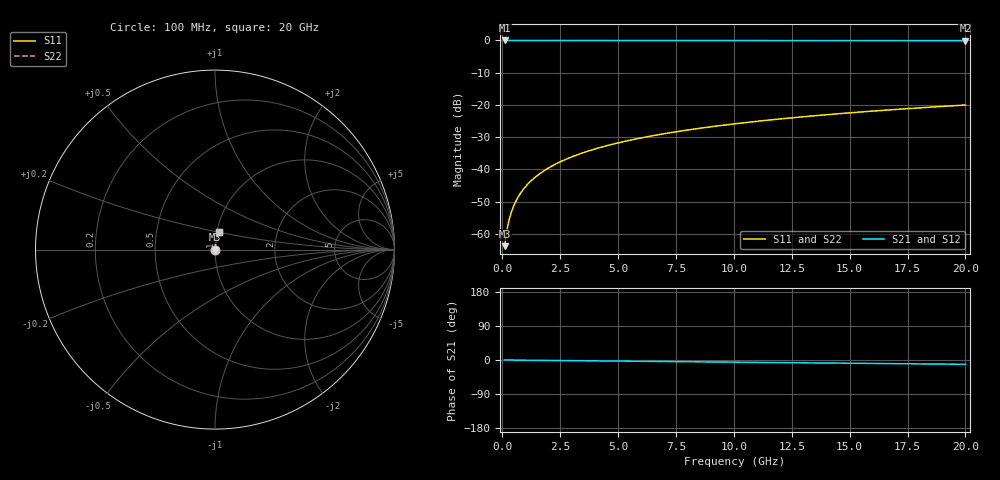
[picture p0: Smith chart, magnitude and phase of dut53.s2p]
! Touchstone file exported from HFSS 2026.1.0
!  File:  C:/ffzhzh/LocalFiles/Ansys_Project_Files/temp_train_TSV_53_1782958846_15332.aedt
!  Generated:  10:22:36 AM Jul  2, 2026
!  Design:  TSV
!  Project:  temp_train_TSV_53_1782958846_15332
! Variables:
!  h_bsmrdl = 2um
!  h_ox = 20um
!  h_rdl = 5um
!  h_sub = 94.98um
!  h_tmrdl = 5um
!  h_tsv = 94.98um
!  h_via = 3um
!  l_bsmrdl = 300um
!  l_sub = 411.96um
!  l_tmrdl = 200um
!  m_sub = 200um
!  pitch = 55.69um
!  r_tsv = 5.98um
!  s_tmrdl = 10um
!  w_bsmrdl = 18um
!  w_sub = 500um
!  w_tmrdl = 12um
!  x_tsv_center1 = 206um
!  x_tsv_center2 = 524um
!  x_tsv_center3 = 736um
!  x_tsv_center4 = 1054um
!  x_tsv_center5 = 1266um
!  x_tsv_center6 = 1584um
# GHz S MA R 50.000000
! Terminal data exported
! Port[1] = TSV1_1_T1
! Port[2] = TSV1_1_T2
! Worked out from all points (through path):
!   200 points, 100 MHz to 20 GHz, reference 50 ohm
!   highest |S21| = 0.00 dB at 100 MHz (marker M1); lowest = -0.1 dB at 20 GHz (marker M2)
!   group delay of S21, straight-line fit = 1.57 ps
!   lowest |S11| = -63.8 dB at 100 MHz (marker M3), VSWR 1.00, Z = 50 + j0.055 ohm
!   |S11| at or under -10 dB: start of sweep to end of sweep
!   |S22| runs from -63.8 to -20.0 dB; largest |S21 - S12| = 3.4e-15
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0.1  0.0006442 58.6  0.9997 -0.1  0.9997 -0.1  0.0006442 58.6
! Gamma 0 0 0 0
! Port Impedance 50 0 50 0
0.2  0.001152 72.5  0.9997 -0.1  0.9997 -0.1  0.001152 72.5
0.3  0.001684 77.6  0.9996 -0.2  0.9996 -0.2  0.001684 77.6
0.4  0.00222 80.0  0.9996 -0.2  0.9996 -0.2  0.00222 80.0
0.5  0.002754 81.4  0.9996 -0.3  0.9996 -0.3  0.002754 81.4
0.6  0.003287 82.3  0.9996 -0.4  0.9996 -0.4  0.003287 82.3
0.7  0.003816 83.0  0.9996 -0.4  0.9996 -0.4  0.003816 83.0
0.8  0.004342 83.4  0.9995 -0.5  0.9995 -0.5  0.004342 83.4
1  0.005387 84.0  0.9995 -0.6  0.9995 -0.6  0.005387 84.0
1.4  0.007456 84.7  0.9994 -0.8  0.9994 -0.8  0.007456 84.7
1.7  0.008999 85.0  0.9993 -1.0  0.9993 -1.0  0.008999 85.0
2  0.01054 85.1  0.9993 -1.2  0.9993 -1.2  0.01054 85.1
2.7  0.01411 85.3  0.9991 -1.6  0.9991 -1.6  0.01411 85.3
3.5  0.01818 85.2  0.9989 -2.0  0.9989 -2.0  0.01818 85.2
4.2  0.02173 85.0  0.9988 -2.4  0.9988 -2.4  0.02173 85.0
5  0.02577 84.7  0.9986 -2.9  0.9986 -2.9  0.02577 84.7
6.8  0.0348 84.0  0.9981 -3.9  0.9981 -3.9  0.0348 84.0
8.3  0.04228 83.4  0.9977 -4.8  0.9977 -4.8  0.04228 83.4
10.1  0.05123 82.5  0.9972 -5.8  0.9972 -5.8  0.05123 82.5
13.4  0.06752 80.9  0.996 -7.6  0.996 -7.6  0.06752 80.9
16.7  0.08366 79.2  0.9946 -9.5  0.9946 -9.5  0.08366 79.2
20  0.09961 77.4  0.9929 -11.3  0.9929 -11.3  0.09961 77.4
